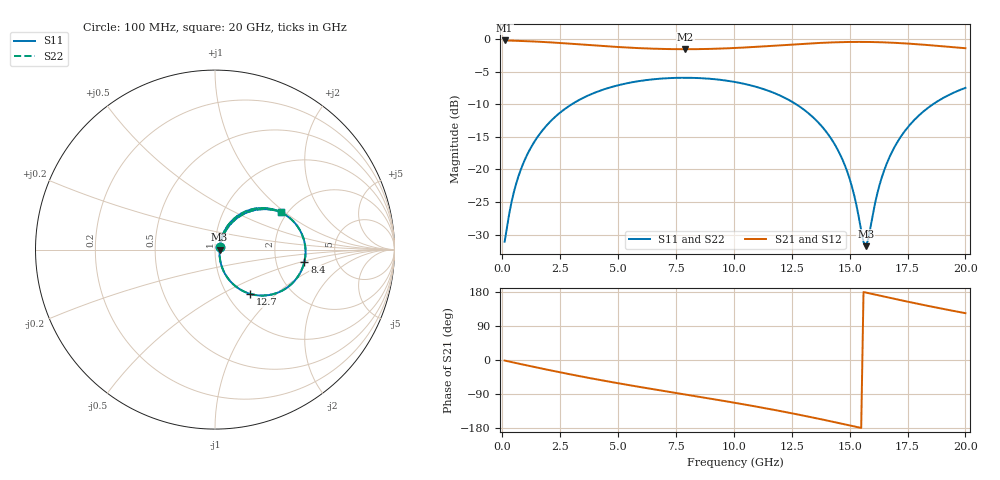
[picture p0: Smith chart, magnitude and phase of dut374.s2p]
! Touchstone file exported from HFSS 2026.1.0
!  File:  C:/ffzhzh/LocalFiles/Ansys_Project_Files/temp_train_TSV_RDL_374_1783041410_4048.aedt
!  Generated:  09:29:30 AM Jul  3, 2026
!  Design:  TSV_RDL
!  Project:  temp_train_TSV_RDL_374_1783041410_4048
! Variables:
!  h_bsmrdl = 2.96um
!  h_ox = 20um
!  h_rdl = 5um
!  h_sub = 94.41um
!  h_tmrdl = 3.12um
!  h_tsv = 94.41um
!  h_via = 3um
!  l_bsmrdl = 591.72um
!  l_sub = 3436.41um
!  l_tmrdl = 285.41um
!  m_sub = 200um
!  pitch = 48.34um
!  r_tsv = 14.06um
!  s_tmrdl = 10um
!  w_bsmrdl = 10.79um
!  w_sub = 500um
!  w_tmrdl = 29.08um
!  x_tsv_center1 = 299.95um
!  x_tsv_center2 = 902.46um
!  x_tsv_center3 = 1216.95um
!  x_tsv_center4 = 1819.46um
!  x_tsv_center5 = 2133.95um
!  x_tsv_center6 = 2736.46um
# GHz S MA R 50.000000
! Terminal data exported
! Port[1] = TM_RDL1_1_T1
! Port[2] = TM_RDL5_1_T1
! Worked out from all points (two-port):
!   200 points, 100 MHz to 20 GHz, reference 50 ohm
!   highest |S21| = -0.22 dB at 100 MHz (marker M1); lowest = -1.6 dB at 7.9 GHz (marker M2)
!   |S21| within 3 dB of the highest: start of sweep to end of sweep
!   lowest |S11| = -31.8 dB at 15.7 GHz (marker M3), VSWR 1.05, Z = 52.7 - j0.0429 ohm
!   |S11| at or under -10 dB: start of sweep to 3.003 GHz; 12.69 GHz to 18.6 GHz (5.912 GHz wide, 37.8 % of centre)
!   |S22| runs from -31.7 to -5.9 dB; largest |S21 - S12| = 2.9e-14
!   S11 on the Smith chart (normalised r, x): 100 MHz: 1.05, +0.03; 8.4 GHz: 2.91, -0.53; 12.7 GHz: 1.27, -0.70; 20 GHz: 1.85, +0.94
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0.1  0.02794 26.1  0.9751 -1.4  0.9751 -1.4  0.02794 26.1
! Gamma 0 0 0 0
! Port Impedance 50 0 50 0
0.4  0.05637 56.3  0.9721 -5.5  0.9721 -5.5  0.05637 56.3
0.6  0.07799 61.1  0.9695 -8.2  0.9695 -8.2  0.07799 61.1
1.2  0.1433 62.3  0.9606 -16.0  0.9606 -16.0  0.1433 62.3
2.2  0.2453 54.3  0.94 -28.8  0.94 -28.8  0.2453 54.3
3.5  0.3543 40.8  0.9059 -44.5  0.9059 -44.5  0.3543 40.8
5  0.442 25.3  0.8685 -61.3  0.8685 -61.3  0.442 25.3
6.8  0.4964 7.5  0.8404 -80.0  0.8404 -80.0  0.4963 7.6
7.9  0.5048 -3.0  0.8356 -91.0  0.8356 -91.0  0.5048 -3.0
8.4  0.5027 -7.8  0.8366 -96.1  0.8366 -96.1  0.5027 -7.8
10.1  0.4666 -24.5  0.8546 -113.5  0.8546 -113.5  0.4666 -24.4
12.7  0.3153 -51.5  0.9117 -143.0  0.9117 -143.0  0.3153 -51.5
13.4  0.2532 -58.8  0.9273 -151.7  0.9273 -151.7  0.2532 -58.7
14.2  0.1725 -66.1  0.9414 -162.0  0.9414 -162.0  0.1725 -66.0
14.8  0.107 -68.5  0.9481 -169.9  0.9481 -169.9  0.1071 -68.3
15.1  0.07389 -65.9  0.9499 -173.9  0.9499 -173.9  0.07397 -65.7
15.6  0.02779 -24.8  0.9503 179.3  0.9503 179.3  0.02807 -24.5
15.7  0.02582 -0.9  0.95 178.0  0.95 178.0  0.02613 -0.9
16.2  0.06596 56.3  0.9464 171.2  0.9464 171.2  0.0661 56.0
16.7  0.1218 60.5  0.9397 164.5  0.9397 164.5  0.1219 60.4
18  0.2602 50.6  0.9101 147.6  0.9101 147.6  0.2603 50.6
20  0.4221 29.6  0.8502 123.6  0.8502 123.6  0.4221 29.6
